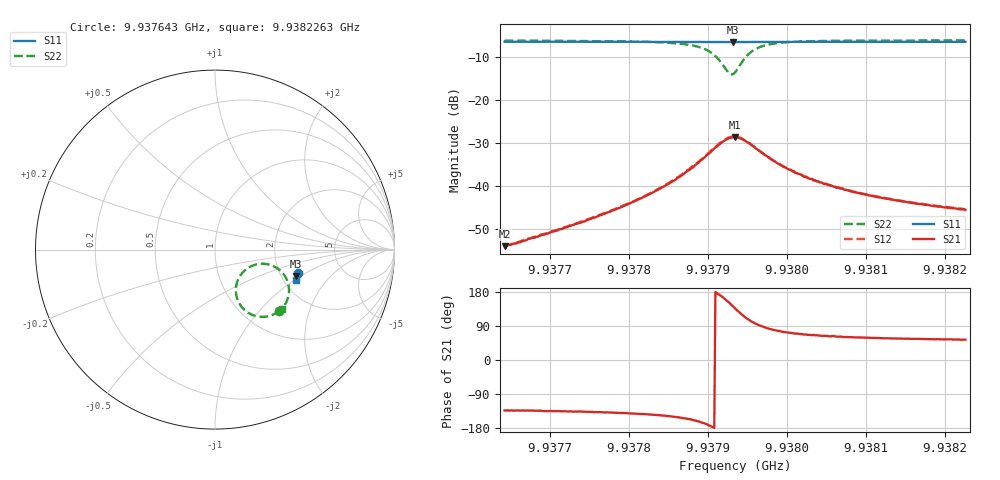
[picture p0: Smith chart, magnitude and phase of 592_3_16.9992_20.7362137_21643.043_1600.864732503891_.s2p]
#  HZ  S  RI  R  50.00
! Rohde & Schwarz Vector Network Analyzer
! Rohde-Schwarz,ZNB20-2Port,1311601062101988,3.16
! Created: UTC 3/20/2024, 11:18:41 PM
! freq[Hz]  re:S11  im:S11  re:S21  im:S21  re:S12  im:S12  re:S22  im:S22
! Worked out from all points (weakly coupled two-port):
!   401 points, 9.937643 GHz to 9.9382263 GHz, reference 50 ohm
!   highest |S21| = -28.60 dB at 9.9379346 GHz (marker M1); lowest = -54.1 dB at 9.937643 GHz (marker M2)
!   lowest |S11| = -6.4 dB at 9.9379317 GHz (marker M3), VSWR 2.82, Z = 120 - j45.9 ohm
!   |S11| at or under -10 dB: nowhere
!   |S22| runs from -14.0 to -6.1 dB; largest |S21 - S12| = 0.0017
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9.93764298e9  0.4641 -0.1308  -0.00135 -0.00145  -0.00139 -0.00143  0.3581 -0.3413
9.93766047e9  0.4635 -0.132  -0.0015 -0.00161  -0.00157 -0.00158  0.3558 -0.3435
9.93774068e9  0.4615 -0.1374  -0.00271 -0.00262  -0.00284 -0.00263  0.3407 -0.3537
9.93779026e9  0.4602 -0.1409  -0.00433 -0.00363  -0.00444 -0.00368  0.3242 -0.3621
9.93783838e9  0.4587 -0.1442  -0.00759 -0.00519  -0.0078 -0.00512  0.2937 -0.3718
9.93786754e9  0.4575 -0.1463  -0.0119 -0.0061  -0.0123 -0.00607  0.256 -0.3744
9.93788504e9  0.4564 -0.1475  -0.0166 -0.00609  -0.0171 -0.0058  0.2174 -0.3673
9.93789671e9  0.4556 -0.1483  -0.0213 -0.00457  -0.022 -0.00417  0.1814 -0.3494
9.93790837e9  0.4544 -0.1487  -0.0272 -0.000397  -0.0279 0.000321  0.1399 -0.307
9.93791858e9  0.4536 -0.1486  -0.0316 0.00749  -0.0322 0.00883  0.1163 -0.2362
9.93792587e9  0.4531 -0.1479  -0.032 0.0157  -0.0322 0.0173  0.1275 -0.1696
9.9379317e9  0.4531 -0.1474  -0.0292 0.0226  -0.0289 0.0242  0.1609 -0.1205
9.93793462e9  0.4533 -0.1471  -0.0269 0.0257  -0.0263 0.027  0.1847 -0.1019
9.93794191e9  0.4539 -0.147  -0.0191 0.0302  -0.0184 0.0314  0.2529 -0.0791
9.93795066e9  0.4548 -0.1473  -0.0101 0.0305  -0.00922 0.0313  0.324 -0.0913
9.93795795e9  0.4553 -0.1478  -0.00444 0.0286  -0.00358 0.0288  0.3638 -0.1171
9.93796524e9  0.4556 -0.1487  -0.000633 0.0256  -2.34e-05 0.0259  0.3877 -0.145
9.93799295e9  0.4558 -0.1512  0.00444 0.0168  0.00479 0.0168  0.4123 -0.2228
9.93803232e9  0.4548 -0.1545  0.00503 0.011  0.00511 0.0108  0.4054 -0.2724
9.93808336e9  0.4535 -0.1582  0.00429 0.00741  0.00451 0.00744  0.3932 -0.3003
9.93813002e9  0.4523 -0.1615  0.00381 0.00589  0.00396 0.00589  0.3849 -0.314
9.93822626e9  0.4496 -0.1677  0.00311 0.00422  0.00322 0.00422  0.3725 -0.3301
